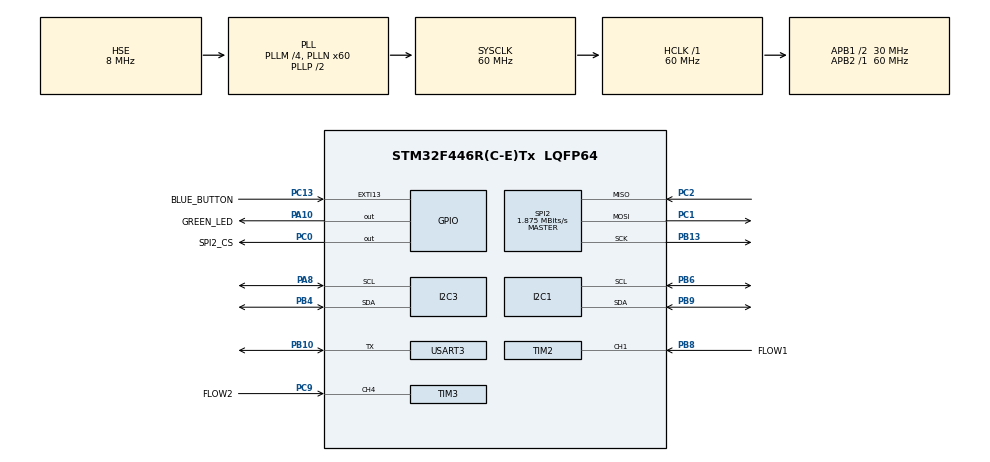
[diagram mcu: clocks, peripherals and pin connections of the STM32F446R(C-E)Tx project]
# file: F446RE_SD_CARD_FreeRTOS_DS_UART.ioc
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FREERTOS.Tasks01=defaultTask,24,128,StartDefaultTask,Default,NULL,Dynamic,NULL,NULL
Mcu.Family=STM32F4
Mcu.Name=STM32F446R(C-E)Tx
Mcu.Package=LQFP64
NVIC.EXTI15_10_IRQn=true\:5\:0\:false\:false\:true\:true\:true\:true\:true
NVIC.PriorityGroup=NVIC_PRIORITYGROUP_4
NVIC.TIM1_UP_TIM10_IRQn=true\:5\:0\:false\:false\:true\:true\:true\:true\:true
NVIC.TIM2_IRQn=true\:5\:0\:false\:false\:true\:true\:true\:true\:true
NVIC.TIM3_IRQn=true\:5\:0\:false\:false\:true\:true\:true\:true\:true
NVIC.TIM6_DAC_IRQn=true\:15\:0\:false\:false\:true\:false\:false\:true\:true
NVIC.TimeBase=TIM6_DAC_IRQn
NVIC.TimeBaseIP=TIM6
NVIC.USART3_IRQn=true\:5\:0\:false\:false\:true\:true\:true\:true\:true
PA10.GPIO_Label=GREEN_LED
PA10.Signal=GPIO_Output
PA13.GPIO_Label=TMS
PA13.Mode=Serial_Wire
PA13.Signal=SYS_JTMS-SWDIO
PA14.GPIO_Label=TCK
PA14.Mode=Serial_Wire
PA14.Signal=SYS_JTCK-SWCLK
PA8.Mode=I2C
PA8.Signal=I2C3_SCL
PB10.Mode=Half_duplex(single_wire_mode)
PB10.Signal=USART3_TX
PB13.Mode=Full_Duplex_Master
PB13.Signal=SPI2_SCK
PB3.GPIO_Label=SWO
PB3.Signal=SYS_JTDO-SWO
PB4.Mode=I2C
PB4.Signal=I2C3_SDA
PB6.Mode=I2C
PB6.Signal=I2C1_SCL
PB8.GPIO_Label=FLOW1
PB8.Signal=S_TIM2_CH1_ETR
PB9.Mode=I2C
PB9.Signal=I2C1_SDA
PC0.GPIO_Label=SPI2_CS
PC0.Signal=GPIO_Output
PC1.Mode=Full_Duplex_Master
PC1.Signal=SPI2_MOSI
PC13.GPIO_Label=BLUE_BUTTON
PC13.GPIO_ModeDefaultEXTI=GPIO_MODE_IT_FALLING
PC13.Signal=GPXTI13
PC2.Mode=Full_Duplex_Master
PC2.Signal=SPI2_MISO
PC9.GPIO_Label=FLOW2
PC9.Signal=S_TIM3_CH4
PH0-OSC_IN.Mode=HSE-External-Oscillator
PH0-OSC_IN.Signal=RCC_OSC_IN
PH1-OSC_OUT.Mode=HSE-External-Oscillator
PH1-OSC_OUT.Signal=RCC_OSC_OUT
ProjectManager.HeapSize=0x200
ProjectManager.StackSize=0x400
ProjectManager.TargetToolchain=STM32CubeIDE
RCC.48MHZClocksFreq_Value=84000000
RCC.AHBFreq_Value=60000000
RCC.APB1CLKDivider=RCC_HCLK_DIV2
RCC.APB1Freq_Value=30000000
RCC.APB1TimFreq_Value=60000000
RCC.APB2Freq_Value=60000000
RCC.APB2TimFreq_Value=60000000
RCC.CortexFreq_Value=60000000
RCC.FLatency-AdvancedSettings=FLASH_LATENCY_1
RCC.HCLKFreq_Value=60000000
RCC.HSE_VALUE=8000000
RCC.HSI_VALUE=16000000
RCC.PLLM=4
RCC.PLLN=60
RCC.PLLSourceVirtual=RCC_PLLSOURCE_HSE
RCC.SYSCLKFreq_VALUE=60000000
RCC.SYSCLKSource=RCC_SYSCLKSOURCE_PLLCLK
RCC.USBFreq_Value=60000000
RCC.VCOOutputFreq_Value=120000000
SH.S_TIM2_CH1_ETR.0=TIM2_CH1,Input_Capture1_from_TI1
SH.S_TIM3_CH4.0=TIM3_CH4,Input_Capture4_from_TI4
SPI2.BaudRatePrescaler=SPI_BAUDRATEPRESCALER_16
SPI2.CalculateBaudRate=1.875 MBits/s
SPI2.Direction=SPI_DIRECTION_2LINES
SPI2.Mode=SPI_MODE_MASTER
SPI2.VirtualType=VM_MASTER
TIM1.Period=2000-1
TIM1.Prescaler=60000-1
TIM1.TIM_MasterOutputTrigger=TIM_TRGO_UPDATE
TIM2.Channel-Input_Capture1_from_TI1=TIM_CHANNEL_1
TIM3.Channel-Input_Capture4_from_TI4=TIM_CHANNEL_4
USART3.VirtualMode=VM_ASYNC
VP_FATFS_VS_Generic.Mode=User_defined
VP_FREERTOS_VS_CMSIS_V2.Mode=CMSIS_V2
VP_SYS_VS_tim6.Mode=TIM6
VP_TIM1_VS_ClockSourceINT.Mode=Internal
VP_TIM2_VS_ClockSourceINT.Mode=Internal
VP_TIM3_VS_ClockSourceINT.Mode=Internal
board=NUCLEO-F446RE

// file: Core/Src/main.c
/* USER CODE BEGIN Header */
/**
  ******************************************************************************
  * @file           : main.c
  * @brief          : Main program body
  ******************************************************************************
  * @attention
  *
  * Copyright (c) 2023 STMicroelectronics.
  * All rights reserved.
  *
  * This software is licensed under terms that can be found in the LICENSE file
  * in the root directory of this software component.
  * If no LICENSE file comes with this software, it is provided AS-IS.
  *
  ******************************************************************************
  */
/* USER CODE END Header */
#include "main.h"
#include "fatfs.h"

/* USER CODE BEGIN Includes */
#include "FreeRTOS.h"
#include "task.h"
#include "semphr.h"

// User
#include "for_Maciej.h"

// RTOS
#include "File_Handling_RTOS.h"

// Temperature, humidity and pressure measurement
#include "bme280_add.h"
#include "bme280_defs.h"
#include "bme280.h"

// Temp (DS18B20)
#include "OneWire.h"

// Time
#include "LB_time.h"

// LCD
#include "lcd_i2c.h"

// Standard
#include "stdio.h"
#include "stdbool.h"

/* USER CODE END Includes */

/* USER CODE BEGIN PD */

// FreeRTOS
#define STACK_SIZE_MEDIUM 512
#define STACK_SIZE_SMALL 128
/* USER CODE END PD */

I2C_HandleTypeDef hi2c1;
I2C_HandleTypeDef hi2c3;

SPI_HandleTypeDef hspi2;

TIM_HandleTypeDef htim1;
TIM_HandleTypeDef htim2;
TIM_HandleTypeDef htim3;

UART_HandleTypeDef huart3;
/* USER CODE BEGIN PV */

// FreeRTOS
uint32_t IdleCounter = 0;

// Temperature monitoring (DS18B20)
extern float Temp[MAXDEVICES_ON_THE_BUS];

// Flow monitoring
uint16_t Flow1_pulse_counter = 0;
uint16_t Flow2_pulse_counter = 0;
float Flow_Rate_1;
float Flow_Rate_2;

// Temperature, humidity and pressure measurement
struct bme280_dev bme280_sens_dev;
struct bme280_data bme280_sens_data;

// SD CARD
bool measurement_is_active = false;
Time_t Measurement_Time;
File_counter_t Measurement_Counter =
		{
				0,
				false
		};
const char * file_name = "Meas";
const char * file_extension = ".csv";

// LCD
struct lcd_disp TEMP_LCD;

/* USER CODE END PV */

void SystemClock_Config(void);
static void MX_GPIO_Init(void);
static void MX_SPI2_Init(void);
static void MX_TIM1_Init(void);
static void MX_I2C1_Init(void);
static void MX_TIM2_Init(void);
static void MX_TIM3_Init(void);
static void MX_USART3_UART_Init(void);
static void MX_I2C3_Init(void);

/* USER CODE BEGIN 0 */
xTaskHandle IDLE_Task_Handler;

xTaskHandle HUMID_Task_Handler;

xSemaphoreHandle HUMID_Sem;

xTaskHandle FLOW_Task_Handler;
xTaskHandle FLOW2_Task_Handler;

xTaskHandle TEMP_Task_Handler;

xTaskHandle SDCARD_Task_Handler;

xTaskHandle LCD_Task_Handler;

void IDLE_Task (void *argument);
void HUMID_Task (void *argument);
void FLOW_Task (void *argument);
void TEMP_Task (void *argument);
void SDCARD_Task (void *argument);
void LCD_Task (void *argument);

/* USER CODE END 0 */

int main(void)
{

  /* MCU Configuration--------------------------------------------------------*/

  /* Reset of all peripherals, Initializes the Flash interface and the Systick. */
  HAL_Init();

  /* Configure the system clock */
  SystemClock_Config();

  /* Initialize all configured peripherals */
  MX_GPIO_Init();
  MX_SPI2_Init();
  MX_TIM1_Init();
  MX_FATFS_Init();
  MX_I2C1_Init();
  MX_TIM2_Init();
  MX_TIM3_Init();
  MX_USART3_UART_Init();
  MX_I2C3_Init();
  /* USER CODE BEGIN 2 */

  // FreeRTOS
  xTaskCreate(IDLE_Task, "IDLE", STACK_SIZE_SMALL, NULL, 1, &IDLE_Task_Handler);

  xTaskCreate(HUMID_Task, "HUMID", STACK_SIZE_MEDIUM, NULL, 2, &HUMID_Task_Handler);
  HUMID_Sem = xSemaphoreCreateBinary();

  xTaskCreate(FLOW_Task, "FLOW", STACK_SIZE_SMALL, NULL, 2, &FLOW_Task_Handler);

  xTaskCreate(TEMP_Task, "TEMP", STACK_SIZE_MEDIUM, NULL, 2, &TEMP_Task_Handler);

  xTaskCreate(SDCARD_Task, "SD", STACK_SIZE_MEDIUM, NULL, 3, &SDCARD_Task_Handler);

  xTaskCreate(LCD_Task, "LCD", STACK_SIZE_MEDIUM, NULL, 1, &LCD_Task_Handler);

  // TIM1
  HAL_TIM_Base_Start_IT(&htim1); // periodic delay timer

  // FreeRTOS
  vTaskStartScheduler();
  /* USER CODE END 2 */

  /* We should never get here as control is now taken by the scheduler */
  /* Infinite loop */
  while (1)
  {

  }
}

void SystemClock_Config(void)
{
  RCC_OscInitTypeDef RCC_OscInitStruct = {0};
  RCC_ClkInitTypeDef RCC_ClkInitStruct = {0};

  /** Configure the main internal regulator output voltage
  */
  __HAL_RCC_PWR_CLK_ENABLE();
  __HAL_PWR_VOLTAGESCALING_CONFIG(PWR_REGULATOR_VOLTAGE_SCALE3);

  /** Initializes the RCC Oscillators according to the specified parameters
  * in the RCC_OscInitTypeDef structure.
  */
  RCC_OscInitStruct.OscillatorType = RCC_OSCILLATORTYPE_HSE;
  RCC_OscInitStruct.HSEState = RCC_HSE_ON;
  RCC_OscInitStruct.PLL.PLLState = RCC_PLL_ON;
  RCC_OscInitStruct.PLL.PLLSource = RCC_PLLSOURCE_HSE;
  RCC_OscInitStruct.PLL.PLLM = 4;
  RCC_OscInitStruct.PLL.PLLN = 60;
  RCC_OscInitStruct.PLL.PLLP = RCC_PLLP_DIV2;
  RCC_OscInitStruct.PLL.PLLQ = 2;
  RCC_OscInitStruct.PLL.PLLR = 2;
  if (HAL_RCC_OscConfig(&RCC_OscInitStruct) != HAL_OK)
  {
    Error_Handler();
  }

  /** Initializes the CPU, AHB and APB buses clocks
  */
  RCC_ClkInitStruct.ClockType = RCC_CLOCKTYPE_HCLK|RCC_CLOCKTYPE_SYSCLK
                              |RCC_CLOCKTYPE_PCLK1|RCC_CLOCKTYPE_PCLK2;
  RCC_ClkInitStruct.SYSCLKSource = RCC_SYSCLKSOURCE_PLLCLK;
  RCC_ClkInitStruct.AHBCLKDivider = RCC_SYSCLK_DIV1;
  RCC_ClkInitStruct.APB1CLKDivider = RCC_HCLK_DIV2;
  RCC_ClkInitStruct.APB2CLKDivider = RCC_HCLK_DIV1;

  if (HAL_RCC_ClockConfig(&RCC_ClkInitStruct, FLASH_LATENCY_1) != HAL_OK)
  {
    Error_Handler();
  }
}

static void MX_I2C1_Init(void)
{

  hi2c1.Instance = I2C1;
  hi2c1.Init.ClockSpeed = 100000;
  hi2c1.Init.DutyCycle = I2C_DUTYCYCLE_2;
  hi2c1.Init.OwnAddress1 = 0;
  hi2c1.Init.AddressingMode = I2C_ADDRESSINGMODE_7BIT;
  hi2c1.Init.DualAddressMode = I2C_DUALADDRESS_DISABLE;
  hi2c1.Init.OwnAddress2 = 0;
  hi2c1.Init.GeneralCallMode = I2C_GENERALCALL_DISABLE;
  hi2c1.Init.NoStretchMode = I2C_NOSTRETCH_DISABLE;
  if (HAL_I2C_Init(&hi2c1) != HAL_OK)
  {
    Error_Handler();
  }

}

static void MX_I2C3_Init(void)
{

  hi2c3.Instance = I2C3;
  hi2c3.Init.ClockSpeed = 100000;
  hi2c3.Init.DutyCycle = I2C_DUTYCYCLE_2;
  hi2c3.Init.OwnAddress1 = 0;
  hi2c3.Init.AddressingMode = I2C_ADDRESSINGMODE_7BIT;
  hi2c3.Init.DualAddressMode = I2C_DUALADDRESS_DISABLE;
  hi2c3.Init.OwnAddress2 = 0;
  hi2c3.Init.GeneralCallMode = I2C_GENERALCALL_DISABLE;
  hi2c3.Init.NoStretchMode = I2C_NOSTRETCH_DISABLE;
  if (HAL_I2C_Init(&hi2c3) != HAL_OK)
  {
    Error_Handler();
  }

}

static void MX_SPI2_Init(void)
{

  /* SPI2 parameter configuration*/
  hspi2.Instance = SPI2;
  hspi2.Init.Mode = SPI_MODE_MASTER;
  hspi2.Init.Direction = SPI_DIRECTION_2LINES;
  hspi2.Init.DataSize = SPI_DATASIZE_8BIT;
  hspi2.Init.CLKPolarity = SPI_POLARITY_LOW;
  hspi2.Init.CLKPhase = SPI_PHASE_1EDGE;
  hspi2.Init.NSS = SPI_NSS_SOFT;
  hspi2.Init.BaudRatePrescaler = SPI_BAUDRATEPRESCALER_16;
  hspi2.Init.FirstBit = SPI_FIRSTBIT_MSB;
  hspi2.Init.TIMode = SPI_TIMODE_DISABLE;
  hspi2.Init.CRCCalculation = SPI_CRCCALCULATION_DISABLE;
  hspi2.Init.CRCPolynomial = 10;
  if (HAL_SPI_Init(&hspi2) != HAL_OK)
  {
    Error_Handler();
  }

}

static void MX_TIM1_Init(void)
{

  TIM_ClockConfigTypeDef sClockSourceConfig = {0};
  TIM_MasterConfigTypeDef sMasterConfig = {0};

  htim1.Instance = TIM1;
  htim1.Init.Prescaler = 60000-1;
  htim1.Init.CounterMode = TIM_COUNTERMODE_UP;
  htim1.Init.Period = 2000-1;
  htim1.Init.ClockDivision = TIM_CLOCKDIVISION_DIV1;
  htim1.Init.RepetitionCounter = 0;
  htim1.Init.AutoReloadPreload = TIM_AUTORELOAD_PRELOAD_DISABLE;
  if (HAL_TIM_Base_Init(&htim1) != HAL_OK)
  {
    Error_Handler();
  }
  sClockSourceConfig.ClockSource = TIM_CLOCKSOURCE_INTERNAL;
  if (HAL_TIM_ConfigClockSource(&htim1, &sClockSourceConfig) != HAL_OK)
  {
    Error_Handler();
  }
  sMasterConfig.MasterOutputTrigger = TIM_TRGO_UPDATE;
  sMasterConfig.MasterSlaveMode = TIM_MASTERSLAVEMODE_DISABLE;
  if (HAL_TIMEx_MasterConfigSynchronization(&htim1, &sMasterConfig) != HAL_OK)
  {
    Error_Handler();
  }

}

static void MX_TIM2_Init(void)
{

  TIM_ClockConfigTypeDef sClockSourceConfig = {0};
  TIM_MasterConfigTypeDef sMasterConfig = {0};
  TIM_IC_InitTypeDef sConfigIC = {0};

  htim2.Instance = TIM2;
  htim2.Init.Prescaler = 0;
  htim2.Init.CounterMode = TIM_COUNTERMODE_UP;
  htim2.Init.Period = 4294967295;
  htim2.Init.ClockDivision = TIM_CLOCKDIVISION_DIV1;
  htim2.Init.AutoReloadPreload = TIM_AUTORELOAD_PRELOAD_DISABLE;
  if (HAL_TIM_Base_Init(&htim2) != HAL_OK)
  {
    Error_Handler();
  }
  sClockSourceConfig.ClockSource = TIM_CLOCKSOURCE_INTERNAL;
  if (HAL_TIM_ConfigClockSource(&htim2, &sClockSourceConfig) != HAL_OK)
  {
    Error_Handler();
  }
  if (HAL_TIM_IC_Init(&htim2) != HAL_OK)
  {
    Error_Handler();
  }
  sMasterConfig.MasterOutputTrigger = TIM_TRGO_RESET;
  sMasterConfig.MasterSlaveMode = TIM_MASTERSLAVEMODE_DISABLE;
  if (HAL_TIMEx_MasterConfigSynchronization(&htim2, &sMasterConfig) != HAL_OK)
  {
    Error_Handler();
  }
  sConfigIC.ICPolarity = TIM_INPUTCHANNELPOLARITY_RISING;
  sConfigIC.ICSelection = TIM_ICSELECTION_DIRECTTI;
  sConfigIC.ICPrescaler = TIM_ICPSC_DIV1;
  sConfigIC.ICFilter = 0;
  if (HAL_TIM_IC_ConfigChannel(&htim2, &sConfigIC, TIM_CHANNEL_1) != HAL_OK)
  {
    Error_Handler();
  }

}

static void MX_TIM3_Init(void)
{

  TIM_ClockConfigTypeDef sClockSourceConfig = {0};
  TIM_MasterConfigTypeDef sMasterConfig = {0};
  TIM_IC_InitTypeDef sConfigIC = {0};

  htim3.Instance = TIM3;
  htim3.Init.Prescaler = 0;
  htim3.Init.CounterMode = TIM_COUNTERMODE_UP;
  htim3.Init.Period = 65535;
  htim3.Init.ClockDivision = TIM_CLOCKDIVISION_DIV1;
  htim3.Init.AutoReloadPreload = TIM_AUTORELOAD_PRELOAD_DISABLE;
  if (HAL_TIM_Base_Init(&htim3) != HAL_OK)
  {
    Error_Handler();
  }
  sClockSourceConfig.ClockSource = TIM_CLOCKSOURCE_INTERNAL;
  if (HAL_TIM_ConfigClockSource(&htim3, &sClockSourceConfig) != HAL_OK)
  {
    Error_Handler();
  }
  if (HAL_TIM_IC_Init(&htim3) != HAL_OK)
  {
    Error_Handler();
  }
  sMasterConfig.MasterOutputTrigger = TIM_TRGO_RESET;
  sMasterConfig.MasterSlaveMode = TIM_MASTERSLAVEMODE_DISABLE;
  if (HAL_TIMEx_MasterConfigSynchronization(&htim3, &sMasterConfig) != HAL_OK)
  {
    Error_Handler();
  }
  sConfigIC.ICPolarity = TIM_INPUTCHANNELPOLARITY_RISING;
  sConfigIC.ICSelection = TIM_ICSELECTION_DIRECTTI;
  sConfigIC.ICPrescaler = TIM_ICPSC_DIV1;
  sConfigIC.ICFilter = 0;
  if (HAL_TIM_IC_ConfigChannel(&htim3, &sConfigIC, TIM_CHANNEL_4) != HAL_OK)
  {
    Error_Handler();
  }

}

static void MX_USART3_UART_Init(void)
{

  huart3.Instance = USART3;
  huart3.Init.BaudRate = 115200;
  huart3.Init.WordLength = UART_WORDLENGTH_8B;
  huart3.Init.StopBits = UART_STOPBITS_1;
  huart3.Init.Parity = UART_PARITY_NONE;
  huart3.Init.Mode = UART_MODE_TX_RX;
  huart3.Init.HwFlowCtl = UART_HWCONTROL_NONE;
  huart3.Init.OverSampling = UART_OVERSAMPLING_16;
  if (HAL_HalfDuplex_Init(&huart3) != HAL_OK)
  {
    Error_Handler();
  }

}

static void MX_GPIO_Init(void)
{
  GPIO_InitTypeDef GPIO_InitStruct = {0};

  /* GPIO Ports Clock Enable */
  __HAL_RCC_GPIOC_CLK_ENABLE();
  __HAL_RCC_GPIOH_CLK_ENABLE();
  __HAL_RCC_GPIOB_CLK_ENABLE();
  __HAL_RCC_GPIOA_CLK_ENABLE();

  /*Configure GPIO pin Output Level */
  HAL_GPIO_WritePin(SPI2_CS_GPIO_Port, SPI2_CS_Pin, GPIO_PIN_RESET);

  /*Configure GPIO pin Output Level */
  HAL_GPIO_WritePin(GREEN_LED_GPIO_Port, GREEN_LED_Pin, GPIO_PIN_RESET);

  /*Configure GPIO pin : BLUE_BUTTON_Pin */
  GPIO_InitStruct.Pin = BLUE_BUTTON_Pin;
  GPIO_InitStruct.Mode = GPIO_MODE_IT_FALLING;
  GPIO_InitStruct.Pull = GPIO_NOPULL;
  HAL_GPIO_Init(BLUE_BUTTON_GPIO_Port, &GPIO_InitStruct);

  /*Configure GPIO pin : SPI2_CS_Pin */
  GPIO_InitStruct.Pin = SPI2_CS_Pin;
  GPIO_InitStruct.Mode = GPIO_MODE_OUTPUT_PP;
  GPIO_InitStruct.Pull = GPIO_NOPULL;
  GPIO_InitStruct.Speed = GPIO_SPEED_FREQ_LOW;
  HAL_GPIO_Init(SPI2_CS_GPIO_Port, &GPIO_InitStruct);

  /*Configure GPIO pin : GREEN_LED_Pin */
  GPIO_InitStruct.Pin = GREEN_LED_Pin;
  GPIO_InitStruct.Mode = GPIO_MODE_OUTPUT_PP;
  GPIO_InitStruct.Pull = GPIO_NOPULL;
  GPIO_InitStruct.Speed = GPIO_SPEED_FREQ_LOW;
  HAL_GPIO_Init(GREEN_LED_GPIO_Port, &GPIO_InitStruct);

  /* EXTI interrupt init*/
  HAL_NVIC_SetPriority(EXTI15_10_IRQn, 5, 0);
  HAL_NVIC_EnableIRQ(EXTI15_10_IRQn);

}

/* USER CODE BEGIN 4 */
void IDLE_Task (void *argument)
{
	while(1)
	{
		IdleCounter++;
	}
}

void HUMID_Task (void *argument)
{
	// The initialization of humidity sensor
	BME280_init(&bme280_sens_dev);

	while(1)
	{
		xSemaphoreTake(HUMID_Sem, 2500);
		BME280_read_data(&bme280_sens_dev, &bme280_sens_data);

		vTaskDelay(500UL);
	}
}

void SDCARD_Task (void *argument)
{
	FRESULT f_result;

	// The initialization of time
	LB_Init_Time(&Measurement_Time);

	while(1)
	{
		if (measurement_is_active)
		{
			HAL_GPIO_WritePin(GREEN_LED_GPIO_Port, GREEN_LED_Pin, GPIO_PIN_SET);

			if (FR_OK == (f_result = Mount_SD("/")))
			{
				LB_Times_Ticking(&Measurement_Time);
				char * buffer = pvPortMalloc(MAX_DATA_LEN * sizeof(char));
				sprintf( buffer, "%u,%.1f,%.1f,%.1f,%.1f,%.1f,%.1f,%.2f\r\n", Measurement_Time.seconds, Temp[0], Temp[1], Temp[2], Temp[3], Flow_Rate_1, Flow_Rate_2, ( (float) bme280_sens_data.humidity / 1024.0f));
				Update_File(file_name, &Measurement_Counter, file_extension, buffer);
				vPortFree(buffer);
				Unmount_SD("/");
			}
		}
		else
		{
			HAL_GPIO_WritePin(GREEN_LED_GPIO_Port, GREEN_LED_Pin, GPIO_PIN_RESET);
			LB_Init_Time(&Measurement_Time);
		}

		vTaskDelay(1000UL);
	}
}

void FLOW_Task (void *argument)
{
	// The initializations of timers
	HAL_TIM_IC_Start_IT(&htim2, TIM_CHANNEL_1);
	HAL_TIM_IC_Start_IT(&htim3, TIM_CHANNEL_4);

	while(1)
	{
		Flow_Rate_1 = (float) Flow1_pulse_counter / FLOW_RATE_COEFFICIENT1;
		Flow_Rate_2 = (float) Flow2_pulse_counter / FLOW_RATE_COEFFICIENT2;
		Flow1_pulse_counter = 0;
		Flow2_pulse_counter = 0;
		vTaskDelay(1000UL);
	}
}

void TEMP_Task (void *argument)
{
	// Searching for ROM codes
	get_ROMid();

	while(1)
	{
		get_Temperature();
		osDelay(pdMS_TO_TICKS(1000UL));
	}
}

void LCD_Task (void *argument)
{
	TEMP_LCD.addr = (LCD_ADDRESS << 1);
	TEMP_LCD.bl = true;
	lcd_init(&TEMP_LCD);

	while(1)
	{
		  sprintf((char *) TEMP_LCD.f_line, "T1=%.1f  T2=%.1f", Temp[0], Temp[1]);
		  sprintf((char *) TEMP_LCD.s_line, "T3=%.1f  T4=%.1f", Temp[2], Temp[3]);
		  lcd_display(&TEMP_LCD);
		vTaskDelay(1000UL);
	}
}

void HAL_GPIO_EXTI_Callback(uint16_t GPIO_Pin)
{
	if (BLUE_BUTTON_Pin == GPIO_Pin)
	{
		if (false == measurement_is_active)
		{
			measurement_is_active = true;
		}
		else
		{
			measurement_is_active = false;
			Measurement_Counter.isfound = false;
		}
	}
}
/* USER CODE END 4 */

void HAL_TIM_PeriodElapsedCallback(TIM_HandleTypeDef *htim)
{
  /* USER CODE BEGIN Callback 0 */
	if (TIM1 == htim->Instance)
	{
		// release the semaphore here
		 /* The xHigherPriorityTaskWoken parameter must be initialized to pdFALSE as
		 it will get set to pdTRUE inside the interrupt safe API function if a
		 context switch is required. */
		BaseType_t xHigherPriorityTaskWoken = pdFALSE;

		xSemaphoreGiveFromISR(HUMID_Sem, &xHigherPriorityTaskWoken);  // ISR SAFE VERSION

		/* Pass the xHigherPriorityTaskWoken value into portEND_SWITCHING_ISR(). If
		 xHigherPriorityTaskWoken was set to pdTRUE inside xSemaphoreGiveFromISR()
		 then calling portEND_SWITCHING_ISR() will request a context switch. If
		 xHigherPriorityTaskWoken is still pdFALSE then calling
		 portEND_SWITCHING_ISR() will have no effect */

		portEND_SWITCHING_ISR( xHigherPriorityTaskWoken );
	}
  /* USER CODE END Callback 0 */
  if (htim->Instance == TIM6) {
    HAL_IncTick();
  }
}

void Error_Handler(void)
{
  __disable_irq();
  while (1)
  {
  }
}
